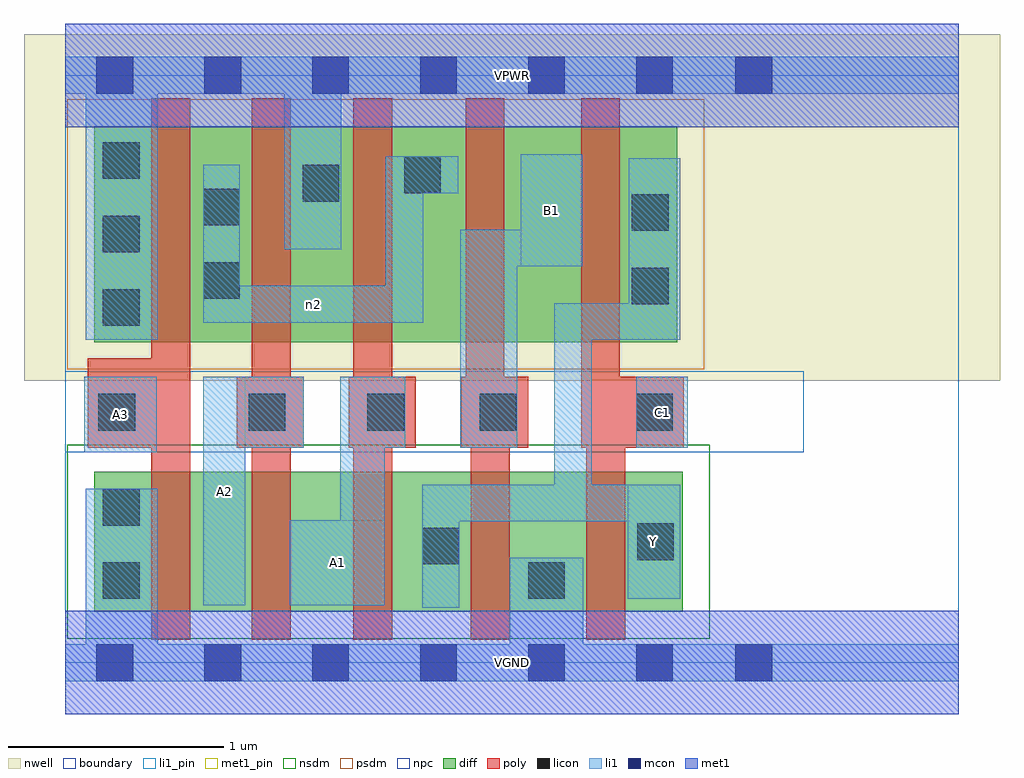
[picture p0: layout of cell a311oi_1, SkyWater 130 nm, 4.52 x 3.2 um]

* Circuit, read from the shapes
.subckt a311oi_1 A1 A2 A3 B1 C1 VGND VPWR Y n2
XM1 n1 A3 VGND VSUBS sky130_fd_pr__nfet_01v8 w=0.65 l=0.18
XM2 n3 A2 n1 VSUBS sky130_fd_pr__nfet_01v8 w=0.65 l=0.18
XM3 Y A1 n3 VSUBS sky130_fd_pr__nfet_01v8 w=0.65 l=0.18
XM4 VGND B1 Y VSUBS sky130_fd_pr__nfet_01v8 w=0.65 l=0.18
XM5 Y C1 VGND VSUBS sky130_fd_pr__nfet_01v8 w=0.65 l=0.18
XM6 n2 A3 VPWR n4 sky130_fd_pr__pfet_01v8 w=1 l=0.18
XM7 VPWR A2 n2 n4 sky130_fd_pr__pfet_01v8 w=1 l=0.18
XM8 n2 A1 VPWR n4 sky130_fd_pr__pfet_01v8 w=1 l=0.18
XM9 n5 B1 n2 n4 sky130_fd_pr__pfet_01v8 w=1 l=0.18
XM10 Y C1 n5 n4 sky130_fd_pr__pfet_01v8 w=1 l=0.18
.ends

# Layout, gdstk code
import gdstk
lib = gdstk.Library(unit=1e-6, precision=1e-09)
def R(c, l, rs):  # rectangles x0, y0, x1, y1
    for r in rs: c.add(gdstk.rectangle(r[:2], r[2:], *l))
def A(c, l, x, y, w, h, nx, ny, dx, dy):  # array of equal rectangles
    R(c, l, [(x+i*dx, y+j*dy, x+i*dx+w, y+j*dy+h) for i in range(nx) for j in range(ny)])
nwell = (64, 20)
diff = (65, 20)
poly = (66, 20)
licon = (66, 44)
li1_pin = (67, 16)
li1 = (67, 20)
mcon = (67, 44)
met1_pin = (68, 16)
met1 = (68, 20)
nsdm = (93, 44)
psdm = (94, 20)
npc = (95, 20)
boundary = (235, 4)

a311oi_1 = lib.new_cell('a311oi_1')
R(a311oi_1, nwell, [(-0.19,1.305,4.33,2.91), (0,1.305,4.14,2.91)])
R(a311oi_1, diff, [(0.135,0.235,2.86,0.885), (0.135,1.485,2.835,2.485)])
A(a311oi_1, poly, 0.795, 0.995, 0.31, 0.33, 3, 1, 0.52, 0)
R(a311oi_1, poly, [(0.4,0.105,0.58,2.615), (0.865,0.105,1.045,2.615), (1.335,0.105,1.515,2.615), (1.88,0.105,2.06,1.325), (2.415,0.105,2.595,1.325), (0.105,0.995,0.58,1.41), (1.855,0.995,2.035,2.615), (2.39,0.995,2.57,2.615), (2.39,0.995,2.865,1.325)])
A(a311oi_1, licon, 0.175, 1.56, 0.17, 0.17, 1, 3, 0, 0.34)
R(a311oi_1, licon, [(0.175,0.295,0.345,0.465), (2.145,0.295,2.315,0.465), (1.655,0.455,1.825,0.625), (2.65,0.475,2.82,0.645), (0.175,0.635,0.345,0.805), (0.155,1.075,0.325,1.245), (0.85,1.075,1.02,1.245), (1.4,1.075,1.57,1.245), (1.92,1.075,2.09,1.245), (2.645,1.075,2.815,1.245), (2.625,1.66,2.795,1.83), (0.64,1.685,0.81,1.855), (2.625,2,2.795,2.17), (0.64,2.025,0.81,2.195), (1.1,2.135,1.27,2.305), (1.57,2.175,1.74,2.345)])
R(a311oi_1, li1_pin, [(0.64,0.265,0.835,1.325), (1.04,0.265,1.48,0.66), (2.605,0.295,2.85,0.825), (0.09,0.975,0.425,1.325), (2.645,0.995,2.885,1.325), (2.11,1.835,2.395,2.355)])
R(a311oi_1, li1, [(0,-0.085,4.14,0.085), (0.095,-0.085,0.43,0.805), (2.06,-0.085,2.4,0.485), (1.655,0.255,1.825,0.825), (0.64,0.265,0.835,1.325), (1.04,0.265,1.48,0.66), (1.275,0.265,1.48,1.325), (2.605,0.295,2.85,0.825), (1.655,0.655,2.85,0.825), (2.265,0.655,2.44,1.665), (0.09,0.975,0.425,1.325), (0.64,0.995,1.105,1.325), (1.275,0.995,1.575,1.325), (1.83,0.995,2.095,2.005), (2.645,0.995,2.885,1.325), (0.095,1.495,0.43,2.805), (2.265,1.495,2.85,1.665), (2.61,1.495,2.85,2.335), (0.64,1.575,1.66,1.745), (0.64,1.575,0.81,2.305), (1.485,1.575,1.66,2.345), (1.83,1.835,2.395,2.005), (2.11,1.835,2.395,2.355), (1.015,1.915,1.28,2.805), (1.485,2.175,1.82,2.345), (0,2.635,4.14,2.805)])
A(a311oi_1, mcon, 0.145, -0.085, 0.17, 0.17, 6, 2, 0.5, 2.72)
R(a311oi_1, mcon, [(3.105,-0.085,3.275,0.085), (3.105,2.635,3.275,2.805)])
R(a311oi_1, met1_pin, [(0,-0.24,4.14,0.24), (0,2.48,4.14,2.96)])
R(a311oi_1, met1, [(0,-0.24,4.14,0.24), (0,2.48,4.14,2.96)])
R(a311oi_1, nsdm, [(0.01,0.11,2.985,1.01)])
R(a311oi_1, psdm, [(0.01,1.36,2.96,2.61)])
R(a311oi_1, npc, [(0,0.975,3.42,1.35)])
R(a311oi_1, boundary, [(0,0,4.14,2.72)])
a311oi_1.add(gdstk.Label('A1', (1.26,0.462), layer=67, texttype=5))
a311oi_1.add(gdstk.Label('A2', (0.737,0.795), layer=67, texttype=5))
a311oi_1.add(gdstk.Label('A3', (0.257,1.15), layer=67, texttype=5))
a311oi_1.add(gdstk.Label('B1', (2.252,2.095), layer=67, texttype=5))
a311oi_1.add(gdstk.Label('C1', (2.765,1.16), layer=67, texttype=5))
a311oi_1.add(gdstk.Label('Y', (2.727,0.56), layer=67, texttype=5))
a311oi_1.add(gdstk.Label('n2', (1.15,1.66), layer=67, texttype=5))
a311oi_1.add(gdstk.Label('VPWR', (2.07,2.72), layer=68, texttype=5))
a311oi_1.add(gdstk.Label('VGND', (2.07,0), layer=68, texttype=5))
a311oi_1.add(gdstk.Label('A1', (1.26,0.462), layer=67, texttype=16))
a311oi_1.add(gdstk.Label('A2', (0.737,0.795), layer=67, texttype=16))
a311oi_1.add(gdstk.Label('A3', (0.257,1.15), layer=67, texttype=16))
a311oi_1.add(gdstk.Label('B1', (2.252,2.095), layer=67, texttype=16))
a311oi_1.add(gdstk.Label('C1', (2.765,1.16), layer=67, texttype=16))
a311oi_1.add(gdstk.Label('Y', (2.727,0.56), layer=67, texttype=16))
a311oi_1.add(gdstk.Label('VPWR', (2.07,2.72), layer=68, texttype=16))
a311oi_1.add(gdstk.Label('VGND', (2.07,0), layer=68, texttype=16))

lib.write_gds('a311oi_1.gds')
